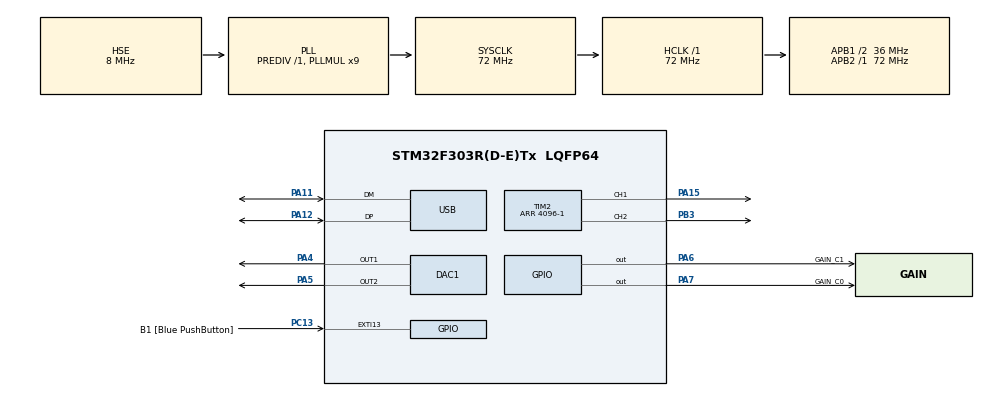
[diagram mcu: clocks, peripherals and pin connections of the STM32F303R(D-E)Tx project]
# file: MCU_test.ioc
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DAC1.DAC_OutputBuffer=DAC_OUTPUTBUFFER_DISABLE
DAC1.DAC_OutputBuffer2=DAC_OUTPUTBUFFER_DISABLE
DAC1.DAC_Trigger=DAC_TRIGGER_T6_TRGO
DAC1.DAC_Trigger2=DAC_TRIGGER_T7_TRGO
Dma.DAC1_CH1.0.Direction=DMA_MEMORY_TO_PERIPH
Dma.DAC1_CH1.0.Instance=DMA1_Channel3
Dma.DAC1_CH1.0.MemDataAlignment=DMA_MDATAALIGN_HALFWORD
Dma.DAC1_CH1.0.MemInc=DMA_MINC_ENABLE
Dma.DAC1_CH1.0.Mode=DMA_CIRCULAR
Dma.DAC1_CH1.0.PeriphDataAlignment=DMA_PDATAALIGN_HALFWORD
Dma.DAC1_CH1.0.PeriphInc=DMA_PINC_DISABLE
Dma.DAC1_CH1.0.Priority=DMA_PRIORITY_HIGH
Dma.DAC1_CH2.1.Direction=DMA_MEMORY_TO_PERIPH
Dma.DAC1_CH2.1.Instance=DMA2_Channel4
Dma.DAC1_CH2.1.MemDataAlignment=DMA_MDATAALIGN_HALFWORD
Dma.DAC1_CH2.1.MemInc=DMA_MINC_ENABLE
Dma.DAC1_CH2.1.Mode=DMA_CIRCULAR
Dma.DAC1_CH2.1.PeriphDataAlignment=DMA_PDATAALIGN_HALFWORD
Dma.DAC1_CH2.1.PeriphInc=DMA_PINC_DISABLE
Dma.DAC1_CH2.1.Priority=DMA_PRIORITY_HIGH
Dma.Request0=DAC1_CH1
Dma.Request1=DAC1_CH2
Mcu.Family=STM32F3
Mcu.Name=STM32F303R(D-E)Tx
Mcu.Package=LQFP64
NVIC.DMA1_Channel3_IRQn=true\:0\:0\:false\:false\:true\:false\:true\:true
NVIC.DMA2_Channel4_IRQn=true\:0\:0\:false\:false\:true\:false\:true\:true
NVIC.PriorityGroup=NVIC_PRIORITYGROUP_0
NVIC.USB_LP_CAN_RX0_IRQn=true\:0\:0\:false\:false\:true\:false\:true\:true
PA11.Mode=Device
PA11.Signal=USB_DM
PA12.Mode=Device
PA12.Signal=USB_DP
PA13.GPIO_Label=TMS
PA13.Signal=SYS_JTMS-SWDIO
PA14.GPIO_Label=TCK
PA14.Signal=SYS_JTCK-SWCLK
PA15.GPIO_Speed=GPIO_SPEED_FREQ_LOW
PA15.Signal=S_TIM2_CH1_ETR
PA4.Signal=COMP_DAC11_group
PA5.Signal=COMP_DAC12_group
PA6.GPIO_Label=GAIN_C1
PA6.GPIO_Speed=GPIO_SPEED_FREQ_LOW
PA6.Signal=GPIO_Output
PA7.GPIO_Label=GAIN_C0
PA7.GPIO_Speed=GPIO_SPEED_FREQ_LOW
PA7.Signal=GPIO_Output
PB3.GPIO_Speed=GPIO_SPEED_FREQ_LOW
PB3.Signal=S_TIM2_CH2
PC13.GPIO_Label=B1 [Blue PushButton]
PC13.GPIO_ModeDefaultEXTI=GPIO_MODE_IT_FALLING
PC13.Signal=GPXTI13
PC14-OSC32_IN.Signal=RCC_OSC32_IN
PC15-OSC32_OUT.Signal=RCC_OSC32_OUT
PF0-OSC_IN.Mode=HSE-External-Oscillator
PF0-OSC_IN.Signal=RCC_OSC_IN
PF1-OSC_OUT.Mode=HSE-External-Oscillator
PF1-OSC_OUT.Signal=RCC_OSC_OUT
ProjectManager.HeapSize=0x200
ProjectManager.StackSize=0x400
ProjectManager.TargetToolchain=STM32CubeIDE
RCC.AHBFreq_Value=72000000
RCC.APB1CLKDivider=RCC_HCLK_DIV2
RCC.APB1Freq_Value=36000000
RCC.APB1TimFreq_Value=72000000
RCC.APB2Freq_Value=72000000
RCC.APB2TimFreq_Value=72000000
RCC.CortexFreq_Value=72000000
RCC.HCLKFreq_Value=72000000
RCC.HSE_VALUE=8000000
RCC.HSI_VALUE=8000000
RCC.LSE_VALUE=32768
RCC.PLLM=8
RCC.PLLMUL=RCC_PLL_MUL9
RCC.PLLN=336
RCC.PLLP=RCC_PLLP_DIV4
RCC.PLLQ=7
RCC.PRESCALERUSB=RCC_USBCLKSOURCE_PLL_DIV1_5
RCC.RCC_PLLsource_Clock_Source_FROM_HSE=RCC_HSE_PREDIV_DIV2
RCC.SYSCLKFreq_VALUE=72000000
RCC.SYSCLKSourceVirtual=RCC_SYSCLKSOURCE_PLLCLK
RCC.USBFreq_Value=48000000
SH.COMP_DAC11_group.0=DAC1_OUT1,DAC_OUT1
SH.COMP_DAC12_group.0=DAC1_OUT2,Enable_DAC_OUT2
SH.S_TIM2_CH1_ETR.0=TIM2_CH1,PWM Generation1 CH1
SH.S_TIM2_CH2.0=TIM2_CH2,PWM Generation2 CH2
TIM2.Channel-PWM\ Generation1\ CH1=TIM_CHANNEL_1
TIM2.Channel-PWM\ Generation2\ CH2=TIM_CHANNEL_2
TIM2.Period=4096-1
TIM6.Period=101
TIM6.TIM_MasterOutputTrigger=TIM_TRGO_UPDATE
TIM7.Period=101
TIM7.TIM_MasterOutputTrigger=TIM_TRGO_UPDATE
USB_DEVICE.APP_RX_DATA_SIZE=64
USB_DEVICE.APP_TX_DATA_SIZE=64
USB_DEVICE.CLASS_NAME_FS=CDC
USB_DEVICE.MANUFACTURER_STRING=STMicroelectronics
USB_DEVICE.VID=1155
USB_DEVICE.VirtualMode=Cdc
USB_DEVICE.VirtualModeFS=Cdc_FS
VP_TIM2_VS_ClockSourceINT.Mode=Internal
VP_TIM6_VS_ClockSourceINT.Mode=Enable_Timer
VP_TIM7_VS_ClockSourceINT.Mode=Enable_Timer
VP_USB_DEVICE_VS_USB_DEVICE_CDC_FS.Mode=CDC_FS
board=NUCLEO-F303RE

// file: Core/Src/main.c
/* USER CODE BEGIN Header */
/**
 ******************************************************************************
 * @file           : main.c
 * @brief          : Main program body
 ******************************************************************************
 * @attention
 *
 * Copyright (c) 2023 STMicroelectronics.
 * All rights reserved.
 *
 * This software is licensed under terms that can be found in the LICENSE file
 * in the root directory of this software component.
 * If no LICENSE file comes with this software, it is provided AS-IS.
 *
 ******************************************************************************
 */
/* USER CODE END Header */
#include "main.h"
#include "usb_device.h"

/* USER CODE BEGIN Includes */
#include "interface.h"
/* USER CODE END Includes */

DAC_HandleTypeDef hdac1;
DMA_HandleTypeDef hdma_dac1_ch1;
DMA_HandleTypeDef hdma_dac1_ch2;

TIM_HandleTypeDef htim2;
TIM_HandleTypeDef htim6;
TIM_HandleTypeDef htim7;

/* USER CODE BEGIN PV */
//uint16_t test_sine1[256] = {2048,2831,3495,3939,4095,3939,3495,2831,
//		2048,1264,600,156,0,156,600,1264};

///uint16_t test_sine2[256] = {2048,2831,3495,3939,4095,3939,3495,2831,
//		2048,1264,600,156,0,156,600,1264};

uint16_t test_sine1[256] = {1792,
		2379,
		2877,
		3210,
		3327,
		3210,
		2877,
		2379,
		1792,
		1204,
		706,
		373,
		256,
		373,
		706,
		1204
};

uint16_t test_sine2[256] = {1792,
		2379,
		2877,
		3210,
		3327,
		3210,
		2877,
		2379,
		1792,
		1204,
		706,
		373,
		256,
		373,
		706,
		1204
};

/* USER CODE END PV */

void SystemClock_Config(void);
static void MX_GPIO_Init(void);
static void MX_DMA_Init(void);
static void MX_DAC1_Init(void);
static void MX_TIM2_Init(void);
static void MX_TIM6_Init(void);
static void MX_TIM7_Init(void);

int main(void)
{

  /* MCU Configuration--------------------------------------------------------*/

  /* Reset of all peripherals, Initializes the Flash interface and the Systick. */
  HAL_Init();

  /* Configure the system clock */
  SystemClock_Config();

  /* Initialize all configured peripherals */
  MX_GPIO_Init();
  MX_DMA_Init();
  MX_USB_DEVICE_Init();
  MX_DAC1_Init();
  MX_TIM2_Init();
  MX_TIM6_Init();
  MX_TIM7_Init();
  /* USER CODE BEGIN 2 */
  HAL_DAC_Start_DMA(&hdac1, DAC_CHANNEL_1, (uint32_t*) test_sine1, (uint32_t) 16, DAC_ALIGN_12B_R);
  HAL_TIM_Base_Start(&htim6);
  HAL_DAC_Start_DMA(&hdac1, DAC_CHANNEL_2, (uint32_t*) test_sine2, (uint32_t) 16, DAC_ALIGN_12B_R);
  HAL_TIM_Base_Start(&htim7);
  static_assert(sizeof(RECV_Packet) <= 64);
	HAL_TIM_PWM_Start(&htim2, TIM_CHANNEL_1);
	HAL_TIM_PWM_Start(&htim2, TIM_CHANNEL_2);
	TIM2->CCR1 = 2048;
	TIM2->CCR2 = 2048;
  /* USER CODE END 2 */

  /* Infinite loop */
	while (1) {

	}
}

void SystemClock_Config(void)
{
  RCC_OscInitTypeDef RCC_OscInitStruct = {0};
  RCC_ClkInitTypeDef RCC_ClkInitStruct = {0};
  RCC_PeriphCLKInitTypeDef PeriphClkInit = {0};

  /** Initializes the RCC Oscillators according to the specified parameters
  * in the RCC_OscInitTypeDef structure.
  */
  RCC_OscInitStruct.OscillatorType = RCC_OSCILLATORTYPE_HSE;
  RCC_OscInitStruct.HSEState = RCC_HSE_ON;
  RCC_OscInitStruct.HSIState = RCC_HSI_ON;
  RCC_OscInitStruct.PLL.PLLState = RCC_PLL_ON;
  RCC_OscInitStruct.PLL.PLLSource = RCC_PLLSOURCE_HSE;
  RCC_OscInitStruct.PLL.PLLMUL = RCC_PLL_MUL9;
  RCC_OscInitStruct.PLL.PREDIV = RCC_PREDIV_DIV1;
  if (HAL_RCC_OscConfig(&RCC_OscInitStruct) != HAL_OK)
  {
    Error_Handler();
  }

  /** Initializes the CPU, AHB and APB buses clocks
  */
  RCC_ClkInitStruct.ClockType = RCC_CLOCKTYPE_HCLK|RCC_CLOCKTYPE_SYSCLK
                              |RCC_CLOCKTYPE_PCLK1|RCC_CLOCKTYPE_PCLK2;
  RCC_ClkInitStruct.SYSCLKSource = RCC_SYSCLKSOURCE_PLLCLK;
  RCC_ClkInitStruct.AHBCLKDivider = RCC_SYSCLK_DIV1;
  RCC_ClkInitStruct.APB1CLKDivider = RCC_HCLK_DIV2;
  RCC_ClkInitStruct.APB2CLKDivider = RCC_HCLK_DIV1;

  if (HAL_RCC_ClockConfig(&RCC_ClkInitStruct, FLASH_LATENCY_2) != HAL_OK)
  {
    Error_Handler();
  }
  PeriphClkInit.PeriphClockSelection = RCC_PERIPHCLK_USB|RCC_PERIPHCLK_TIM2;
  PeriphClkInit.USBClockSelection = RCC_USBCLKSOURCE_PLL_DIV1_5;
  PeriphClkInit.Tim2ClockSelection = RCC_TIM2CLK_HCLK;
  if (HAL_RCCEx_PeriphCLKConfig(&PeriphClkInit) != HAL_OK)
  {
    Error_Handler();
  }
}

static void MX_DAC1_Init(void)
{

  DAC_ChannelConfTypeDef sConfig = {0};

  /** DAC Initialization
  */
  hdac1.Instance = DAC1;
  if (HAL_DAC_Init(&hdac1) != HAL_OK)
  {
    Error_Handler();
  }

  /** DAC channel OUT1 config
  */
  sConfig.DAC_Trigger = DAC_TRIGGER_T6_TRGO;
  sConfig.DAC_OutputBuffer = DAC_OUTPUTBUFFER_DISABLE;
  if (HAL_DAC_ConfigChannel(&hdac1, &sConfig, DAC_CHANNEL_1) != HAL_OK)
  {
    Error_Handler();
  }

  /** DAC channel OUT2 config
  */
  sConfig.DAC_Trigger = DAC_TRIGGER_T7_TRGO;
  if (HAL_DAC_ConfigChannel(&hdac1, &sConfig, DAC_CHANNEL_2) != HAL_OK)
  {
    Error_Handler();
  }

}

static void MX_TIM2_Init(void)
{

  TIM_ClockConfigTypeDef sClockSourceConfig = {0};
  TIM_MasterConfigTypeDef sMasterConfig = {0};
  TIM_OC_InitTypeDef sConfigOC = {0};

  htim2.Instance = TIM2;
  htim2.Init.Prescaler = 0;
  htim2.Init.CounterMode = TIM_COUNTERMODE_UP;
  htim2.Init.Period = 4096-1;
  htim2.Init.ClockDivision = TIM_CLOCKDIVISION_DIV1;
  htim2.Init.AutoReloadPreload = TIM_AUTORELOAD_PRELOAD_DISABLE;
  if (HAL_TIM_Base_Init(&htim2) != HAL_OK)
  {
    Error_Handler();
  }
  sClockSourceConfig.ClockSource = TIM_CLOCKSOURCE_INTERNAL;
  if (HAL_TIM_ConfigClockSource(&htim2, &sClockSourceConfig) != HAL_OK)
  {
    Error_Handler();
  }
  if (HAL_TIM_PWM_Init(&htim2) != HAL_OK)
  {
    Error_Handler();
  }
  sMasterConfig.MasterOutputTrigger = TIM_TRGO_RESET;
  sMasterConfig.MasterSlaveMode = TIM_MASTERSLAVEMODE_DISABLE;
  if (HAL_TIMEx_MasterConfigSynchronization(&htim2, &sMasterConfig) != HAL_OK)
  {
    Error_Handler();
  }
  sConfigOC.OCMode = TIM_OCMODE_PWM1;
  sConfigOC.Pulse = 0;
  sConfigOC.OCPolarity = TIM_OCPOLARITY_HIGH;
  sConfigOC.OCFastMode = TIM_OCFAST_DISABLE;
  if (HAL_TIM_PWM_ConfigChannel(&htim2, &sConfigOC, TIM_CHANNEL_1) != HAL_OK)
  {
    Error_Handler();
  }
  if (HAL_TIM_PWM_ConfigChannel(&htim2, &sConfigOC, TIM_CHANNEL_2) != HAL_OK)
  {
    Error_Handler();
  }
  HAL_TIM_MspPostInit(&htim2);

}

static void MX_TIM6_Init(void)
{

  TIM_MasterConfigTypeDef sMasterConfig = {0};

  htim6.Instance = TIM6;
  htim6.Init.Prescaler = 0;
  htim6.Init.CounterMode = TIM_COUNTERMODE_UP;
  htim6.Init.Period = 101;
  htim6.Init.AutoReloadPreload = TIM_AUTORELOAD_PRELOAD_DISABLE;
  if (HAL_TIM_Base_Init(&htim6) != HAL_OK)
  {
    Error_Handler();
  }
  sMasterConfig.MasterOutputTrigger = TIM_TRGO_UPDATE;
  sMasterConfig.MasterSlaveMode = TIM_MASTERSLAVEMODE_DISABLE;
  if (HAL_TIMEx_MasterConfigSynchronization(&htim6, &sMasterConfig) != HAL_OK)
  {
    Error_Handler();
  }

}

static void MX_TIM7_Init(void)
{

  TIM_MasterConfigTypeDef sMasterConfig = {0};

  htim7.Instance = TIM7;
  htim7.Init.Prescaler = 0;
  htim7.Init.CounterMode = TIM_COUNTERMODE_UP;
  htim7.Init.Period = 100;
  htim7.Init.AutoReloadPreload = TIM_AUTORELOAD_PRELOAD_DISABLE;
  if (HAL_TIM_Base_Init(&htim7) != HAL_OK)
  {
    Error_Handler();
  }
  sMasterConfig.MasterOutputTrigger = TIM_TRGO_UPDATE;
  sMasterConfig.MasterSlaveMode = TIM_MASTERSLAVEMODE_DISABLE;
  if (HAL_TIMEx_MasterConfigSynchronization(&htim7, &sMasterConfig) != HAL_OK)
  {
    Error_Handler();
  }

}

static void MX_DMA_Init(void)
{

  /* DMA controller clock enable */
  __HAL_RCC_DMA1_CLK_ENABLE();
  __HAL_RCC_DMA2_CLK_ENABLE();

  /* DMA interrupt init */
  /* DMA1_Channel3_IRQn interrupt configuration */
  HAL_NVIC_SetPriority(DMA1_Channel3_IRQn, 0, 0);
  HAL_NVIC_EnableIRQ(DMA1_Channel3_IRQn);
  /* DMA2_Channel4_IRQn interrupt configuration */
  HAL_NVIC_SetPriority(DMA2_Channel4_IRQn, 0, 0);
  HAL_NVIC_EnableIRQ(DMA2_Channel4_IRQn);

}

static void MX_GPIO_Init(void)
{
  GPIO_InitTypeDef GPIO_InitStruct = {0};

  /* GPIO Ports Clock Enable */
  __HAL_RCC_GPIOC_CLK_ENABLE();
  __HAL_RCC_GPIOF_CLK_ENABLE();
  __HAL_RCC_GPIOA_CLK_ENABLE();
  __HAL_RCC_GPIOB_CLK_ENABLE();

  /*Configure GPIO pin Output Level */
  HAL_GPIO_WritePin(GPIOA, GAIN_C1_Pin|GAIN_C0_Pin, GPIO_PIN_RESET);

  /*Configure GPIO pin : B1_Pin */
  GPIO_InitStruct.Pin = B1_Pin;
  GPIO_InitStruct.Mode = GPIO_MODE_IT_FALLING;
  GPIO_InitStruct.Pull = GPIO_NOPULL;
  HAL_GPIO_Init(B1_GPIO_Port, &GPIO_InitStruct);

  /*Configure GPIO pins : GAIN_C1_Pin GAIN_C0_Pin */
  GPIO_InitStruct.Pin = GAIN_C1_Pin|GAIN_C0_Pin;
  GPIO_InitStruct.Mode = GPIO_MODE_OUTPUT_PP;
  GPIO_InitStruct.Pull = GPIO_NOPULL;
  GPIO_InitStruct.Speed = GPIO_SPEED_FREQ_LOW;
  HAL_GPIO_Init(GPIOA, &GPIO_InitStruct);

}

void Error_Handler(void)
{
	__disable_irq();
	while (1) {
	}
}
